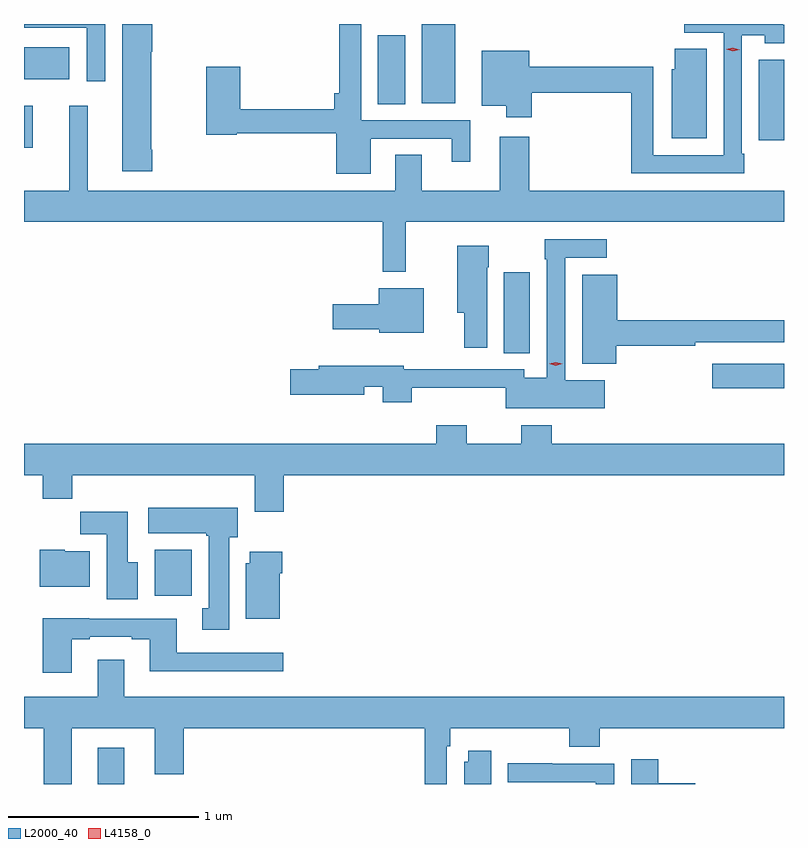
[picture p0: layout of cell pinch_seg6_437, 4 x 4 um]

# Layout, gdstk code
import gdstk
lib = gdstk.Library(unit=1e-6, precision=1e-09)
def R(c, l, rs):  # rectangles x0, y0, x1, y1
    for r in rs: c.add(gdstk.rectangle(r[:2], r[2:], *l))
def P(c, l, *ps):  # polygons
    for p in ps: c.add(gdstk.Polygon(p, *l))
L2000_40 = (2000, 40)
L4158_0 = (4158, 0)

pinch_seg6_437 = lib.new_cell('pinch_seg6_437')
R(pinch_seg6_437, L2000_40, [(705.335,919.07,705.475,919.261), (705.635,920.06,705.832,920.302), (708.57,921.154,708.948,921.283), (707.474,921.337,707.611,921.763), (704.948,922.419,704.993,922.639), (708.815,922.458,708.948,922.883), (706.811,922.648,706.954,923.011), (707.042,922.652,707.218,923.07), (704.948,922.778,705.187,922.948)])
P(pinch_seg6_437, L2000_40, [(705.375,923.07),(704.948,923.07),(704.948,923.049),(705.279,923.049),(705.279,922.77),(705.375,922.77)],
  [(708.739,922.387),(708.726,922.387),(708.726,923.012),(708.846,923.012),(708.846,922.968),(708.948,922.968),(708.948,923.066),(708.942,923.066),(708.942,923.07),(708.423,923.07),(708.423,923.024),(708.63,923.024),(708.63,922.38),(708.261,922.38),(708.261,922.844),(707.608,922.844),(707.608,922.93),(707.357,922.93),(707.357,922.64),(707.486,922.64),(707.486,922.578),(707.621,922.578),(707.621,922.708),(708.145,922.708),(708.145,922.284),(708.739,922.284)],
  [(705.623,922.408),(705.618,922.408),(705.618,922.923),(705.623,922.923),(705.623,923.07),(705.464,923.07),(705.464,922.296),(705.623,922.296)],
  [(706.774,922.467),(707.198,922.467),(707.198,922.344),(707.296,922.344),(707.296,922.563),(706.722,922.563),(706.722,923.07),(706.606,923.07),(706.606,922.705),(706.58,922.705),(706.58,922.622),(706.085,922.622),(706.085,922.846),(705.907,922.846),(705.907,922.486),(706.068,922.486),(706.068,922.494),(706.592,922.494),(706.592,922.283),(706.774,922.283)],
  [(708.541,922.939),(708.374,922.939),(708.374,922.833),(708.356,922.833),(708.356,922.469),(708.541,922.469)],
  [(706.958,922.028),(708.948,922.028),(708.948,922.192),(707.606,922.192),(707.606,922.477),(707.453,922.477),(707.453,922.192),(707.041,922.192),(707.041,922.382),(706.901,922.382),(706.901,922.192),(705.284,922.192),(705.284,922.639),(705.185,922.639),(705.185,922.192),(704.948,922.192),(704.948,922.028),(706.837,922.028),(706.837,921.765),(706.958,921.765)],
  [(708.004,921.196),(707.796,921.196),(707.796,921.84),(708.016,921.84),(708.016,921.936),(707.688,921.936),(707.688,921.833),(707.7,921.833),(707.7,921.208),(707.58,921.208),(707.58,921.252),(707.168,921.252),(707.168,921.254),(706.947,921.254),(706.947,921.272),(706.499,921.272),(706.499,921.254),(706.35,921.254),(706.35,921.119),(706.738,921.119),(706.738,921.162),(706.835,921.162),(706.835,921.08),(706.988,921.08),(706.988,921.155),(707.484,921.155),(707.484,921.047),(708.004,921.047)],
  [(707.386,921.791),(707.394,921.791),(707.394,921.904),(707.228,921.904),(707.228,921.551),(707.264,921.551),(707.264,921.366),(707.386,921.366)],
  [(708.066,921.376),(708.482,921.376),(708.482,921.396),(708.948,921.396),(708.948,921.512),(708.07,921.512),(708.07,921.751),(707.885,921.751),(707.885,921.281),(708.066,921.281)],
  [(707.053,921.679),(706.814,921.679),(706.814,921.594),(706.572,921.594),(706.572,921.464),(706.818,921.464),(706.818,921.446),(707.053,921.446)],
  [(706.316,920.696),(708.948,920.696),(708.948,920.86),(707.726,920.86),(707.726,920.959),(707.566,920.959),(707.566,920.86),(707.277,920.86),(707.277,920.959),(707.117,920.959),(707.117,920.86),(704.948,920.86),(704.948,920.696),(705.047,920.696),(705.047,920.572),(705.203,920.572),(705.203,920.696),(706.163,920.696),(706.163,920.502),(706.316,920.502)],
  [(706.027,920.37),(706.072,920.37),(706.072,920.524),(705.603,920.524),(705.603,920.39),(705.907,920.39),(705.907,920.377),(705.92,920.377),(705.92,919.994),(705.887,919.994),(705.887,919.881),(706.027,919.881)],
  [(705.547,920.236),(705.493,920.236),(705.493,920.503),(705.244,920.503),(705.244,920.384),(705.383,920.384),(705.383,920.043),(705.547,920.043)],
  [(705.295,920.296),(705.162,920.296),(705.162,920.302),(705.032,920.302),(705.032,920.108),(705.295,920.108)],
  [(706.294,920.18),(706.307,920.18),(706.307,920.293),(706.136,920.293),(706.136,920.232),(706.115,920.232),(706.115,919.94),(706.294,919.94)],
  [(705.199,919.833),(705.295,919.833),(705.295,919.845),(705.515,919.845),(705.515,919.833),(705.611,919.833),(705.611,919.664),(706.312,919.664),(706.312,919.761),(705.751,919.761),(705.751,919.941),(705.291,919.941),(705.291,919.942),(705.047,919.942),(705.047,919.656),(705.199,919.656)],
  [(705.199,919.364),(705.635,919.364),(705.635,919.121),(705.788,919.121),(705.788,919.364),(707.056,919.364),(707.056,919.07),(707.172,919.07),(707.172,919.268),(707.192,919.268),(707.192,919.364),(707.818,919.364),(707.818,919.265),(707.978,919.265),(707.978,919.364),(708.948,919.364),(708.948,919.528),(705.475,919.528),(705.475,919.723),(705.335,919.723),(705.335,919.528),(704.948,919.528),(704.948,919.364),(705.052,919.364),(705.052,919.07),(705.199,919.07)],
  [(707.407,919.246),(707.285,919.246),(707.285,919.188),(707.264,919.188),(707.264,919.07),(707.407,919.07)],
  [(708.482,919.075),(708.287,919.075),(708.287,919.201),(708.143,919.201),(708.143,919.07),(708.482,919.07)],
  [(708.054,919.176),(707.729,919.176),(707.729,919.178),(707.493,919.178),(707.493,919.08),(707.958,919.08),(707.958,919.07),(708.054,919.07)])
P(pinch_seg6_437, L4158_0, [(708.679,922.926),(708.644,922.936),(708.644,922.936),(708.644,922.937),(708.679,922.946),(708.714,922.935),(708.714,922.935),(708.714,922.935)],
  [(707.747,921.271),(707.713,921.281),(707.712,921.281),(707.713,921.281),(707.747,921.291),(707.782,921.281),(707.782,921.281),(707.782,921.281)])

lib.write_gds('pinch_seg6_437.gds')
